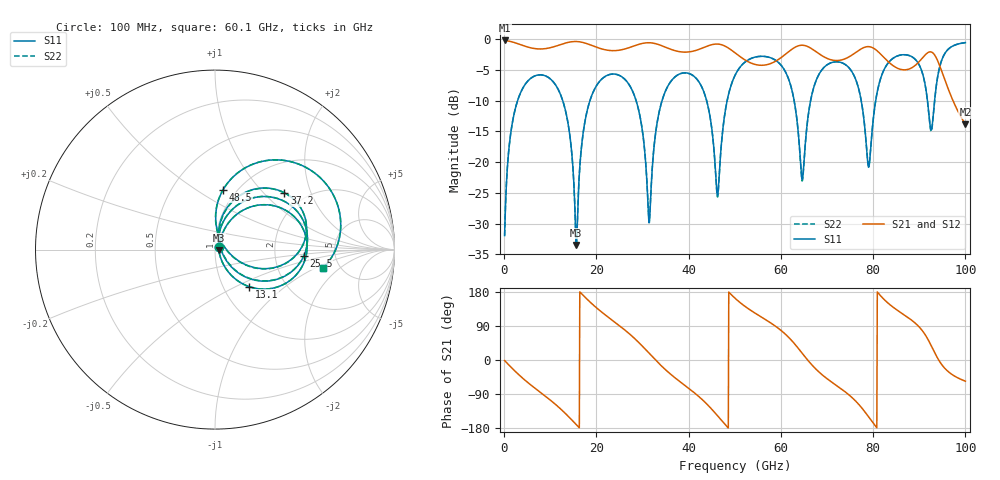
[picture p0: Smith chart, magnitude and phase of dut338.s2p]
! Touchstone file exported from HFSS 2026.1.0
!  File:  C:/ffzhzh/LocalFiles/Ansys_Project_Files/temp_train_TSV_RDL_338_1783705989_44652.aedt
!  Generated:  02:02:30 AM Jul 11, 2026
!  Design:  TSV_RDL
!  Project:  temp_train_TSV_RDL_338_1783705989_44652
! Variables:
!  h_bsmrdl = 3.14um
!  h_ox = 20um
!  h_rdl = 5um
!  h_sub = 58.18um
!  h_tmrdl = 2.18um
!  h_tsv = 58.18um
!  h_via = 3um
!  l_bsmrdl = 672.89um
!  l_sub = 3720.4um
!  l_tmrdl = 292.98um
!  m_sub = 200um
!  pitch = 52.87um
!  r_tsv = 13.63um
!  s_tmrdl = 10um
!  w_bsmrdl = 27.78um
!  w_sub = 500um
!  w_tmrdl = 15.49um
!  x_tsv_center1 = 300.725um
!  x_tsv_center2 = 1001.395um
!  x_tsv_center3 = 1309.865um
!  x_tsv_center4 = 2010.535um
!  x_tsv_center5 = 2319.005um
!  x_tsv_center6 = 3019.675um
# GHz S MA R 50.000000
! Terminal data exported
! Port[1] = TM_RDL1_1_T1
! Port[2] = TM_RDL5_1_T1
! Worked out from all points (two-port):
!   1000 points, 100 MHz to 100 GHz, reference 50 ohm
!   highest |S21| = -0.19 dB at 100 MHz (marker M1); lowest = -13.8 dB at 100 GHz (marker M2)
!   |S21| within 3 dB of the highest: start of sweep to 51.86 GHz; 59.66 GHz to 70.26 GHz (10.6 GHz wide, 16.3 % of centre) (the widest 2 of 4)
!   lowest |S11| = -33.5 dB at 15.6 GHz (marker M3), VSWR 1.04, Z = 52.1 - j0.311 ohm
!   |S11| at or under -10 dB: 12.7 GHz to 18.59 GHz (5.889 GHz wide, 37.6 % of centre); 28.61 GHz to 34.23 GHz (5.615 GHz wide, 17.9 % of centre); 43.9 GHz to 48.34 GHz (4.438 GHz wide, 9.62 % of centre) (the widest 3 of 7)
!   |S22| runs from -33.7 to -0.5 dB; largest |S21 - S12| = 6.4e-13
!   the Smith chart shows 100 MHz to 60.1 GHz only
!   S11 on the Smith chart (normalised r, x): 100 MHz: 1.04, +0.03; 13.1 GHz: 1.32, -0.59; 25.5 GHz: 2.93, -0.29; 37.2 GHz: 1.57, +1.33; 48.5 GHz: 0.87, +0.65; 60.1 GHz: 3.71, -1.22
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0.1  0.02519 30.9  0.9786 -1.4  0.9786 -1.4  0.02519 30.9
! Gamma 0 0 0 0
! Port Impedance 50 0 50 0
4.1  0.4034 37.6  0.8892 -48.9  0.8892 -48.9  0.4034 37.6
13.1  0.2811 -47.3  0.9274 -139.0  0.9274 -139.0  0.2811 -47.3
15.6  0.02115 -8.1  0.9593 -170.0  0.9593 -170.0  0.02067 -8.4
16.8  0.1366 74.9  0.9472 174.8  0.9472 174.8  0.1365 75.1
25.5  0.4953 -4.4  0.8224 85.7  0.8224 85.7  0.4954 -4.2
31.4  0.03203 7.5  0.9378 18.2  0.9378 18.2  0.03439 8.0
33.4  0.2343 74.7  0.9082 -7.2  0.9082 -7.2  0.2346 74.1
37.2  0.4998 39.4  0.8052 -48.5  0.8052 -48.5  0.4998 39.1
43.2  0.3813 -13.1  0.8553 -107.4  0.8553 -107.4  0.3812 -13.4
46.2  0.05377 22.2  0.9152 -146.3  0.9152 -146.3  0.05243 21.8
48.5  0.3371 82.2  0.8544 -178.1  0.8544 -178.1  0.3369 82.4
50.1  0.5131 66.9  0.7739 162.6  0.7739 162.6  0.513 66.9
60.1  0.6112 -9.7  0.7119 77.4  0.7119 77.4  0.6112 -9.8
64.6  0.07208 13.6  0.8951 18.1  0.8951 18.1  0.07019 13.4
66.7  0.3527 66.7  0.8367 -12.7  0.8367 -12.7  0.3522 67.1
76.6  0.428 -15.2  0.7988 -113.3  0.7988 -113.3  0.4283 -14.9
79.1  0.09179 36.4  0.8712 -151.5  0.8712 -151.5  0.09431 36.2
83.4  0.6514 53.4  0.651 148.4  0.651 148.4  0.6515 53.2
88.9  0.6994 13.5  0.6038 99.7  0.6038 99.7  0.6991 13.3
93.2  0.2836 70.1  0.7568 22.8  0.7568 22.8  0.2805 70.9
100  0.94 29.4  0.2036 -55.8  0.2036 -55.8  0.9399 29.5
